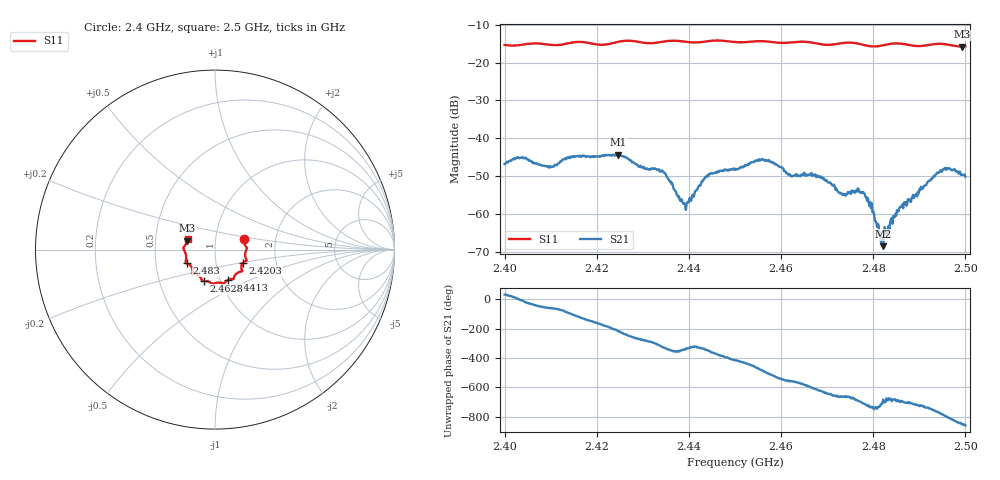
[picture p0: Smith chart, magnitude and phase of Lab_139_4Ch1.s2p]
# Hz S RI R 50
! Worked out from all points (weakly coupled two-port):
!   601 points, 2.4 GHz to 2.5 GHz, reference 50 ohm
!   highest |S21| = -44.26 dB at 2.4247 GHz (marker M1); lowest = -68.4 dB at 2.4822 GHz (marker M2)
!   lowest |S11| = -15.8 dB at 2.4993 GHz (marker M3), VSWR 1.39, Z = 36.5 + j3.71 ohm
!   |S11| at or under -10 dB: start of sweep to end of sweep
!   S12 and S22 are empty: the file has one direction only
!   S11 on the Smith chart (normalised r, x): 2.4 GHz: 1.37, +0.16; 2.4203 GHz: 1.35, -0.21; 2.4413 GHz: 1.09, -0.38; 2.4628 GHz: 0.83, -0.30; 2.483 GHz: 0.72, -0.11; 2.5 GHz: 0.73, +0.09
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2.4e9  0.1606 0.0571  0.0039 0.00244  0 0  0 0
2.410167e9  0.1698 -0.0119  0.00197 -0.00371  0 0  0 0
2.416667e9  0.1761 -0.0615  -0.00337 -0.00459  0 0  0 0
2.420333e9  0.1552 -0.0739  -0.0056 -0.00152  0 0  0 0
2.424667e9  0.1497 -0.1129  -0.0049 0.00366  0 0  0 0
2.433333e9  0.108 -0.1485  0.0025 0.00299  0 0  0 0
2.439e9  0.094 -0.1636  0.00134 0.000431  0 0  0 0
2.441333e9  0.0742 -0.1678  0.00162 0.00119  0 0  0 0
2.444333e9  0.0547 -0.1838  0.00332 0.000468  0 0  0 0
2.45e9  0.0292 -0.1838  0.0022 -0.00319  0 0  0 0
2.456167e9  -0.0127 -0.1902  -0.0034 -0.00398  0 0  0 0
2.462833e9  -0.0631 -0.1747  -0.00304 0.00119  0 0  0 0
2.466667e9  -0.0742 -0.1675  -0.00156 0.00312  0 0  0 0
2.473167e9  -0.1193 -0.1345  0.001 0.00153  0 0  0 0
2.477833e9  -0.1244 -0.1176  0.00194 0.000362  0 0  0 0
2.482167e9  -0.1483 -0.08  0.000309 0.000222  0 0  0 0
2.483e9  -0.1548 -0.0768  0.000418 0.000323  0 0  0 0
2.483333e9  -0.157 -0.0759  0.000498 0.000499  0 0  0 0
2.485667e9  -0.1638 -0.0693  0.00111 0.000504  0 0  0 0
2.494167e9  -0.1762 0.0071  0.00214 -0.00277  0 0  0 0
2.499333e9  -0.1541 0.0495  -0.00223 -0.00246  0 0  0 0
2.5e9  -0.1526 0.0584  -0.00243 -0.00199  0 0  0 0
